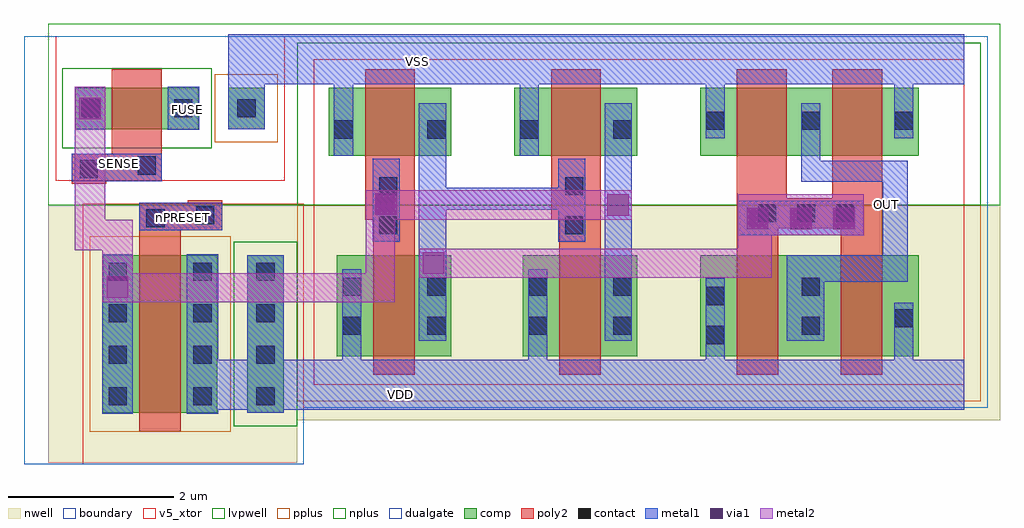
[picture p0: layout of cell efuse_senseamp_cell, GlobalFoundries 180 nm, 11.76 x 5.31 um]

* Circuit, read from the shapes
.subckt efuse_senseamp_cell FUSE OUT SENSE VDD VSS nPRESET
XM1 FUSE SENSE n1 VSS nfet_05v0 w=0.5u l=0.6u
XM2 n2 n1 VSS VSS nfet_05v0 w=0.82u l=0.6u
XM3 n1 n2 VSS VSS nfet_05v0 w=0.82u l=0.6u
XM4 OUT n2 VSS VSS nfet_05v0 w=0.82u l=0.6u m=2
XM5 VDD nPRESET n1 VDD pfet_05v0 w=1.9u l=0.5u
XM6 n2 n1 VDD VDD pfet_05v0 w=1.22u l=0.5u
XM7 n1 n2 VDD VDD pfet_05v0 w=1.22u l=0.5u
XM8 OUT n2 VDD VDD pfet_05v0 w=1.22u l=0.5u m=2
.ends

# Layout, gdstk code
from math import pi, radians
import gdstk
lib = gdstk.Library(unit=1e-6, precision=1e-09)
def R(c, l, rs):  # rectangles x0, y0, x1, y1
    for r in rs: c.add(gdstk.rectangle(r[:2], r[2:], *l))
def A(c, l, x, y, w, h, nx, ny, dx, dy):  # array of equal rectangles
    R(c, l, [(x+i*dx, y+j*dy, x+i*dx+w, y+j*dy+h) for i in range(nx) for j in range(ny)])
def P(c, l, *ps):  # polygons
    for p in ps: c.add(gdstk.Polygon(p, *l))
boundary = (0, 0)
nwell = (21, 0)
comp = (22, 0)
poly2 = (30, 0)
pplus = (31, 0)
nplus = (32, 0)
contact = (33, 0)
metal1 = (34, 0)
via1 = (35, 0)
metal2 = (36, 0)
dualgate = (55, 0)
v5_xtor = (112, 1)
lvpwell = (204, 0)

gf180mcu_fd_sc_mcu7t5v0_ = lib.new_cell('gf180mcu_fd_sc_mcu7t5v0__inv_1')
R(gf180mcu_fd_sc_mcu7t5v0_, boundary, [(-1.96,5.1,0.28,9.02)])
R(gf180mcu_fd_sc_mcu7t5v0_, nwell, [(-2.39,4.67,0.71,7.26)])
R(gf180mcu_fd_sc_mcu7t5v0_, comp, [(-1.68,5.44,-0.3,6.66), (-1.78,7.86,-0.3,8.68)])
P(gf180mcu_fd_sc_mcu7t5v0_, poly2, [(-1.24,5.22),(-1.24,7.09),(-1.34,7.09),(-1.34,8.9),(-0.74,8.9),(-0.74,5.22)])
R(gf180mcu_fd_sc_mcu7t5v0_, pplus, [(-2.16,4.9,0.48,7.26)])
R(gf180mcu_fd_sc_mcu7t5v0_, nplus, [(-2.16,7.26,0.48,9.22)])
R(gf180mcu_fd_sc_mcu7t5v0_, contact, [(-1.61,5.7,-1.39,5.92), (-0.59,5.7,-0.37,5.92), (-1.61,6.17,-1.39,6.39), (-0.59,6.17,-0.37,6.39), (-1.17,6.91,-0.95,7.13), (-1.17,7.38,-0.95,7.6), (-1.71,8.065,-1.49,8.285), (-0.59,8.065,-0.37,8.285)])
R(gf180mcu_fd_sc_mcu7t5v0_, metal1, [(-0.695,5.63,-0.365,8.49), (-1.25,6.82,-0.925,7.82)])
P(gf180mcu_fd_sc_mcu7t5v0_, metal1, [(-1.96,4.8),(-1.96,5.4),(-1.615,5.4),(-1.615,6.49),(-1.385,6.49),(-1.385,5.4),(0.28,5.4),(0.28,4.8)],
  [(-1.715,7.86),(-1.715,8.72),(-1.96,8.72),(-1.96,9.32),(0.28,9.32),(0.28,8.72),(-1.485,8.72),(-1.485,7.86)])
R(gf180mcu_fd_sc_mcu7t5v0_, dualgate, [(-2.24,4.82,0.56,9.3)])
R(gf180mcu_fd_sc_mcu7t5v0_, v5_xtor, [(-1.96,5.1,0.28,9.02)])
R(gf180mcu_fd_sc_mcu7t5v0_, lvpwell, [(-2.39,7.26,0.71,9.45)])

c_gf180mcu_fd_sc_mcu7t5v0_ = lib.new_cell('gf180mcu_fd_sc_mcu7t5v0__inv_2')
R(c_gf180mcu_fd_sc_mcu7t5v0_, boundary, [(0,0,3.36,3.92)])
R(c_gf180mcu_fd_sc_mcu7t5v0_, nwell, [(-0.43,1.76,3.79,4.35)])
R(c_gf180mcu_fd_sc_mcu7t5v0_, comp, [(0.18,0.34,2.81,1.16), (0.18,2.36,2.81,3.58)])
P(c_gf180mcu_fd_sc_mcu7t5v0_, poly2, [(0.62,0.12),(0.62,3.8),(1.12,3.8),(1.12,2.035),(1.87,2.035),(1.87,3.8),(2.37,3.8),(2.37,0.12),(1.77,0.12),(1.77,1.675),(1.22,1.675),(1.22,0.12)])
R(c_gf180mcu_fd_sc_mcu7t5v0_, pplus, [(-0.2,1.76,3.56,4.12)])
R(c_gf180mcu_fd_sc_mcu7t5v0_, nplus, [(-0.2,-0.2,3.56,1.76)])
A(c_gf180mcu_fd_sc_mcu7t5v0_, contact, 0.875, 1.745, 0.22, 0.22, 3, 1, 0.47, 0)
R(c_gf180mcu_fd_sc_mcu7t5v0_, contact, [(0.25,0.63,0.47,0.85), (1.4,0.63,1.62,0.85), (2.52,0.63,2.74,0.85), (1.4,2.63,1.62,2.85), (0.25,2.74,0.47,2.96), (2.52,3.01,2.74,3.23), (1.4,3.1,1.62,3.32), (0.25,3.21,0.47,3.43)])
R(c_gf180mcu_fd_sc_mcu7t5v0_, metal1, [(0.63,1.705,2.15,2.12)])
P(c_gf180mcu_fd_sc_mcu7t5v0_, metal1, [(1.395,0.53),(1.395,1.475),(2.38,1.475),(2.38,2.36),(1.22,2.36),(1.22,3.39),(1.67,3.39),(1.67,2.68),(2.68,2.68),(2.68,1.22),(1.625,1.22),(1.625,0.53)],
  [(0,-0.3),(0,0.3),(0.245,0.3),(0.245,0.95),(0.475,0.95),(0.475,0.3),(2.515,0.3),(2.515,0.95),(2.745,0.95),(2.745,0.3),(3.36,0.3),(3.36,-0.3)],
  [(0.245,2.64),(0.245,3.62),(0,3.62),(0,4.22),(3.36,4.22),(3.36,3.62),(2.745,3.62),(2.745,2.93),(2.515,2.93),(2.515,3.62),(0.475,3.62),(0.475,2.64)])
R(c_gf180mcu_fd_sc_mcu7t5v0_, dualgate, [(-0.28,-0.28,3.64,4.2)])
R(c_gf180mcu_fd_sc_mcu7t5v0_, v5_xtor, [(0,0,3.36,3.92)])
R(c_gf180mcu_fd_sc_mcu7t5v0_, lvpwell, [(-0.43,-0.43,3.79,1.76)])

pmos_1 = lib.new_cell('pmos$1')
R(pmos_1, nwell, [(-2.92,6.52,0.08,9.62)])
R(pmos_1, comp, [(-2.76,7.12,-2.32,9.02), (-1.96,7.12,-0.58,9.02)])
R(pmos_1, poly2, [(-1.52,6.9,-1.02,9.24)])
R(pmos_1, pplus, [(-2.12,6.89,-0.42,9.25)])
R(pmos_1, nplus, [(-2.92,6.96,-2.16,9.18)])
A(pmos_1, contact, -2.65, 7.21, 0.22, 0.22, 1, 4, 0, 0.5)
A(pmos_1, contact, -1.89, 7.21, 0.22, 0.22, 1, 4, 0, 0.5)
A(pmos_1, contact, -0.87, 7.21, 0.22, 0.22, 1, 4, 0, 0.5)
R(pmos_1, metal1, [(-1.97,7.11,-1.59,9.03), (-0.94,7.11,-0.57,9.03), (-2.76,7.12,-2.32,9.02)])
R(pmos_1, dualgate, [(-3,6.5,-0.34,9.64)])
R(pmos_1, v5_xtor, [(-3,6.5,-0.34,9.64)])

nmos = lib.new_cell('nmos')
R(nmos, comp, [(-2.76,8.52,-2.32,9.02), (-1.96,8.52,-0.48,9.02)])
R(nmos, poly2, [(-1.52,8.3,-0.92,9.24)])
R(nmos, pplus, [(-2.92,8.36,-2.16,9.18)])
R(nmos, nplus, [(-2.12,8.29,-0.32,9.25)])
R(nmos, contact, [(-2.65,8.66,-2.43,8.88), (-1.89,8.66,-1.67,8.88), (-0.77,8.66,-0.55,8.88)])
R(nmos, metal1, [(-1.97,8.51,-1.59,9.03), (-0.84,8.51,-0.47,9.03), (-2.76,8.52,-2.32,9.02)])
R(nmos, dualgate, [(-3,7.9,-0.24,9.64)])
R(nmos, v5_xtor, [(-3,7.9,-0.24,9.64)])

efuse_senseamp_cell = lib.new_cell('efuse_senseamp_cell')
R(efuse_senseamp_cell, poly2, [(1.39,-2.57,1.89,-2.49), (1.39,-2.49,2.39,-2.16), (1.975,-2.16,2.39,-2.13), (0.575,-1.93,0.99,-1.9), (0.575,-1.9,1.66,-1.57), (1.06,-1.57,1.66,-1.49)])
R(efuse_senseamp_cell, contact, [(1.475,-2.455,1.695,-2.235), (2.075,-2.42,2.295,-2.2), (0.67,-1.86,0.89,-1.64), (1.37,-1.82,1.59,-1.6)])
R(efuse_senseamp_cell, metal1, [(2.34,-4.65,3.49,-4.05), (1.39,-2.49,2.39,-2.16), (5.085,-2.245,6.44,-1.98), (0.575,-1.9,1.575,-1.57), (0.66,-1.9,1.66,-1.57), (2.46,-0.77,2.9,-0.73), (2.46,-0.73,3.49,-0.13)])
A(efuse_senseamp_cell, via1, 8.71, -2.48, 0.26, 0.26, 3, 1, 0.52, 0)
R(efuse_senseamp_cell, via1, [(0.995,-3.305,1.255,-3.045), (4.805,-3.015,5.065,-2.755), (7.025,-2.315,7.285,-2.055), (4.235,-2.305,4.495,-2.045), (0.665,-1.15,0.925,-0.89)])
R(efuse_senseamp_cell, metal2, [(0.94,-3.355,4.455,-3.005), (0.94,-3.355,1.31,-2.36), (4.115,-3.355,4.465,-2.01), (4.765,-3.06,7.975,-2.71), (7.975,-3.06,9.01,-2.71), (8.6,-3.06,9.01,-2.055), (0.61,-2.73,1.31,-2.36), (8.6,-2.55,10.12,-2.055), (0.61,-2.36,0.98,-0.76), (4.115,-2.36,7.325,-2.01)])
R(efuse_senseamp_cell, dualgate, [(0,-5.31,0.71,-2.17), (0,-2.17,0.38,-0.15), (0.38,-2.17,3.21,-0.15)])
R(efuse_senseamp_cell, lvpwell, [(0.29,-2.19,3.06,0)])
efuse_senseamp_cell.add(gdstk.Reference(gf180mcu_fd_sc_mcu7t5v0_, (5.45,-9.45)))
efuse_senseamp_cell.add(gdstk.Reference(gf180mcu_fd_sc_mcu7t5v0_, (7.69,-9.45)))
efuse_senseamp_cell.add(gdstk.Reference(c_gf180mcu_fd_sc_mcu7t5v0_, (7.97,-0.43), x_reflection=True))
efuse_senseamp_cell.add(gdstk.Reference(pmos_1, (0.37,4.33), rotation=pi))
efuse_senseamp_cell.add(gdstk.Reference(nmos, (0.14,7.75), rotation=pi))
efuse_senseamp_cell.add(gdstk.Label('OUT', (10.395,-2.18), layer=34, texttype=10))
efuse_senseamp_cell.add(gdstk.Label('VSS', (4.74,-0.455), layer=34, texttype=10))
efuse_senseamp_cell.add(gdstk.Label('VDD', (4.54,-4.465), layer=34, texttype=10))
efuse_senseamp_cell.add(gdstk.Label('nPRESET', (1.905,-2.33), layer=34, texttype=10))
efuse_senseamp_cell.add(gdstk.Label('SENSE', (1.155,-1.685), layer=34, texttype=10))
efuse_senseamp_cell.add(gdstk.Label('FUSE', (1.975,-1.03), layer=34, texttype=10))

lib.write_gds('efuse_senseamp_cell.gds')
